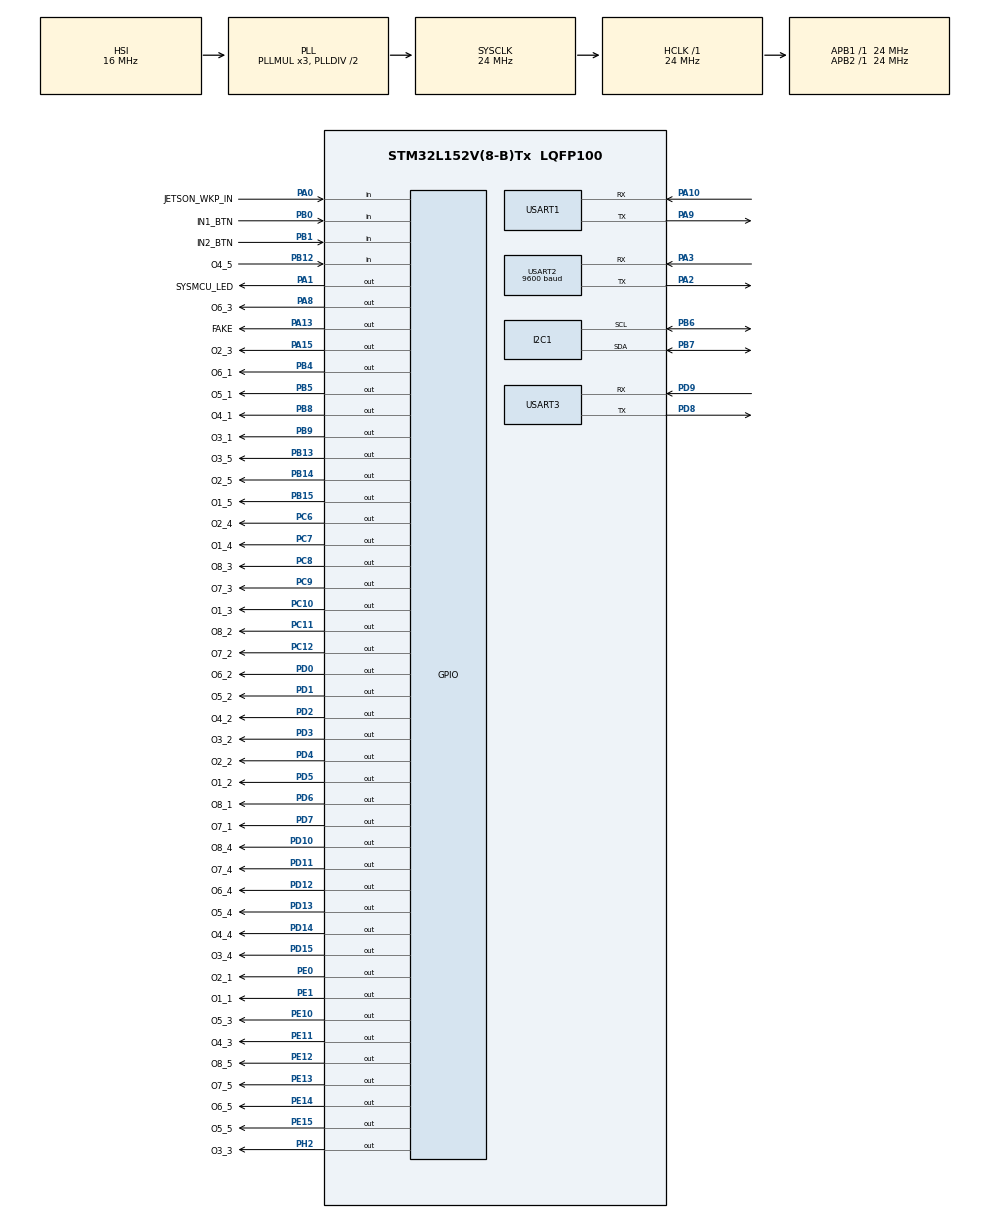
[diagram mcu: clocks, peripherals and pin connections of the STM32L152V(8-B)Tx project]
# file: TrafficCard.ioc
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Dma.Request0=USART1_RX
Dma.USART1_RX.0.Direction=DMA_PERIPH_TO_MEMORY
Dma.USART1_RX.0.Instance=DMA1_Channel5
Dma.USART1_RX.0.MemDataAlignment=DMA_MDATAALIGN_BYTE
Dma.USART1_RX.0.MemInc=DMA_MINC_ENABLE
Dma.USART1_RX.0.Mode=DMA_NORMAL
Dma.USART1_RX.0.PeriphDataAlignment=DMA_PDATAALIGN_BYTE
Dma.USART1_RX.0.PeriphInc=DMA_PINC_DISABLE
Dma.USART1_RX.0.Priority=DMA_PRIORITY_LOW
Mcu.Family=STM32L1
Mcu.Name=STM32L152V(8-B)Tx
Mcu.Package=LQFP100
NVIC.DMA1_Channel5_IRQn=true\:0\:0\:false\:false\:true\:false\:true
NVIC.PriorityGroup=NVIC_PRIORITYGROUP_4
NVIC.TIM6_IRQn=true\:15\:0\:false\:false\:true\:false\:true
NVIC.TimeBase=TIM6_IRQn
NVIC.TimeBaseIP=TIM6
NVIC.USART1_IRQn=true\:0\:0\:false\:false\:true\:true\:true
PA0-WKUP1.GPIO_Label=JETSON_WKP_IN
PA0-WKUP1.Signal=GPIO_Input
PA1.GPIO_Label=SYSMCU_LED
PA1.PinState=GPIO_PIN_SET
PA1.Signal=GPIO_Output
PA10.Mode=Asynchronous
PA10.Signal=USART1_RX
PA13.GPIO_Label=FAKE
PA13.Signal=GPIO_Output
PA15.GPIO_Label=O2_3
PA15.Signal=GPIO_Output
PA2.Mode=Asynchronous
PA2.Signal=USART2_TX
PA3.Mode=Asynchronous
PA3.Signal=USART2_RX
PA8.GPIO_Label=O6_3
PA8.Signal=GPIO_Output
PA9.Mode=Asynchronous
PA9.Signal=USART1_TX
PB0.GPIO_Label=IN1_BTN
PB0.Signal=GPIO_Input
PB1.GPIO_Label=IN2_BTN
PB1.Signal=GPIO_Input
PB12.GPIO_Label=O4_5
PB12.Signal=GPIO_Input
PB13.GPIO_Label=O3_5
PB13.Signal=GPIO_Output
PB14.GPIO_Label=O2_5
PB14.Signal=GPIO_Output
PB15.GPIO_Label=O1_5
PB15.Signal=GPIO_Output
PB4.GPIO_Label=O6_1
PB4.Signal=GPIO_Output
PB5.GPIO_Label=O5_1
PB5.Signal=GPIO_Output
PB6.GPIO_Pu=GPIO_PULLUP
PB6.Mode=I2C
PB6.Signal=I2C1_SCL
PB7.GPIO_Pu=GPIO_PULLUP
PB7.Mode=I2C
PB7.Signal=I2C1_SDA
PB8.GPIO_Label=O4_1
PB8.Signal=GPIO_Output
PB9.GPIO_Label=O3_1
PB9.Signal=GPIO_Output
PC10.GPIO_Label=O1_3
PC10.Signal=GPIO_Output
PC11.GPIO_Label=O8_2
PC11.Signal=GPIO_Output
PC12.GPIO_Label=O7_2
PC12.Signal=GPIO_Output
PC6.GPIO_Label=O2_4
PC6.Signal=GPIO_Output
PC7.GPIO_Label=O1_4
PC7.Signal=GPIO_Output
PC8.GPIO_Label=O8_3
PC8.Signal=GPIO_Output
PC9.GPIO_Label=O7_3
PC9.Signal=GPIO_Output
PD0.GPIO_Label=O6_2
PD0.Signal=GPIO_Output
PD1.GPIO_Label=O5_2
PD1.Signal=GPIO_Output
PD10.GPIO_Label=O8_4
PD10.Signal=GPIO_Output
PD11.GPIO_Label=O7_4
PD11.Signal=GPIO_Output
PD12.GPIO_Label=O6_4
PD12.Signal=GPIO_Output
PD13.GPIO_Label=O5_4
PD13.Signal=GPIO_Output
PD14.GPIO_Label=O4_4
PD14.Signal=GPIO_Output
PD15.GPIO_Label=O3_4
PD15.Signal=GPIO_Output
PD2.GPIO_Label=O4_2
PD2.Signal=GPIO_Output
PD3.GPIO_Label=O3_2
PD3.Signal=GPIO_Output
PD4.GPIO_Label=O2_2
PD4.Signal=GPIO_Output
PD5.GPIO_Label=O1_2
PD5.Signal=GPIO_Output
PD6.GPIO_Label=O8_1
PD6.Signal=GPIO_Output
PD7.GPIO_Label=O7_1
PD7.Signal=GPIO_Output
PD8.Mode=Asynchronous
PD8.Signal=USART3_TX
PD9.Mode=Asynchronous
PD9.Signal=USART3_RX
PE0.GPIO_Label=O2_1
PE0.Signal=GPIO_Output
PE1.GPIO_Label=O1_1
PE1.Signal=GPIO_Output
PE10.GPIO_Label=O5_3
PE10.Signal=GPIO_Output
PE11.GPIO_Label=O4_3
PE11.Signal=GPIO_Output
PE12.GPIO_Label=O8_5
PE12.Signal=GPIO_Output
PE13.GPIO_Label=O7_5
PE13.Signal=GPIO_Output
PE14.GPIO_Label=O6_5
PE14.Signal=GPIO_Output
PE15.GPIO_Label=O5_5
PE15.Signal=GPIO_Output
PH2.GPIO_Label=O3_3
PH2.Signal=GPIO_Output
ProjectManager.HeapSize=0x200
ProjectManager.StackSize=0x400
ProjectManager.TargetToolchain=STM32CubeIDE
RCC.AHBFreq_Value=24000000
RCC.APB1Freq_Value=24000000
RCC.APB1TimFreq_Value=24000000
RCC.APB2Freq_Value=24000000
RCC.APB2TimFreq_Value=24000000
RCC.HCLKFreq_Value=24000000
RCC.HSE_VALUE=24000000
RCC.HSI_VALUE=16000000
RCC.LSE_VALUE=32768
RCC.MSI_VALUE=2097000
RCC.SYSCLKFreq_VALUE=24000000
RCC.SYSCLKSource=RCC_SYSCLKSOURCE_PLLCLK
RCC.VCOOutputFreq_Value=48000000
USART1.VirtualMode=VM_ASYNC
USART2.BaudRate=9600
USART2.VirtualMode=VM_ASYNC
USART3.VirtualMode=VM_ASYNC
VP_SYS_VS_tim6.Mode=TIM6
board=custom

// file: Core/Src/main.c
/* USER CODE BEGIN Header */
/**
 ******************************************************************************
 * @file           : main.c
 * @brief          : Main program body
 ******************************************************************************
 * @attention
 *
 * <h2><center>&copy; Copyright (c) 2021 STMicroelectronics.
 * All rights reserved.</center></h2>
 *
 * This software component is licensed by ST under BSD 3-Clause license,
 * the "License"; You may not use this file except in compliance with the
 * License. You may obtain a copy of the License at:
 *                        opensource.org/licenses/BSD-3-Clause
 *
 ******************************************************************************
 */
/* USER CODE END Header */
#include "main.h"

/* USER CODE BEGIN Includes */
#include <stdio.h>
#include <string.h>
#include "util_eprom.h"
/* USER CODE END Includes */

/* USER CODE BEGIN PD */
#define FLASH_WAIT 1000
#define BUTTON_WAIT 100
#define COMM_WAIT	60000  //60 second

#define TXBUFFER_SIZE 5
#define RXBUFFER_SIZE 100
#define STRBUFFER_SIZE 100
/* USER CODE END PD */

/* USER CODE BEGIN PM */
#define lowByte(w) ((uint8_t) ((w) & 0xff))
#define highByte(w) ((uint8_t) ((w) >> 8))

#define bitRead(value, bit) (((value) >> (bit)) & 0x01)
#define bitSet(value, bit) ((value) |= (1UL << (bit)))
#define bitClear(value, bit) ((value) &= ~(1UL << (bit)))
#define bitWrite(value, bit, bitvalue) ((bitvalue) ? bitSet(value, bit) : bitClear(value, bit))
/* USER CODE END PM */

I2C_HandleTypeDef hi2c1;

UART_HandleTypeDef huart1;
UART_HandleTypeDef huart2;
UART_HandleTypeDef huart3;
DMA_HandleTypeDef hdma_usart1_rx;

/* USER CODE BEGIN PV */
uint8_t uart1RxBuff[RXBUFFER_SIZE];
uint8_t txBuffer[TXBUFFER_SIZE];
uint8_t strBuffer[STRBUFFER_SIZE];
uint32_t flashTickTime = 0, btnTickTime = 0, commTickTime = 0;

uint8_t flashSize = 0, jetsonWakeup = 0, jetsonWakeupOld = 0;
uint8_t buttonStatus = 0, btnStatus = 0, btnStatusOld = 0;
uint8_t command = 0, commandStatus = 0, flashDefault = 1;
volatile uint8_t commandReceived = 0;
volatile HAL_StatusTypeDef uartStatus;

extern Lamp_t flash[LAMP_SIZE];
extern uint8_t lampDefaultValue[LAMP_SIZE];
extern const Lamp_t lamp[LAMP_SIZE];

/* USER CODE END PV */

void SystemClock_Config(void);
static void MX_GPIO_Init(void);
static void MX_DMA_Init(void);
static void MX_I2C1_Init(void);
static void MX_USART1_UART_Init(void);
static void MX_USART2_UART_Init(void);
static void MX_USART3_UART_Init(void);
/* USER CODE BEGIN PFP */

void uartRxRestart();
void checkButtonStatus();
void sendStatus();
void performCommand();
void flashLamp();
void lampAction(uint8_t *lampValue);
void closeAllLamp();
uint8_t checksum(uint8_t *source, uint16_t size);
void uartPrint(UART_HandleTypeDef *huart, char *message);
void debug(char *message);
/* USER CODE END PFP */

/* USER CODE BEGIN 0 */

//Uart Idle Interrupt Callback Function
void HAL_UARTEx_RxEventCallback(UART_HandleTypeDef *huart, uint16_t Size) {
	//debug("Received\n");
	if (huart->Instance == USART1) {
		if (Size == 48) {
			commandReceived = 1;
		}
		commTickTime = HAL_GetTick();
		/* start the DMA again */
		uartStatus = HAL_UARTEx_ReceiveToIdle_DMA(&huart1, uart1RxBuff, RXBUFFER_SIZE);
		uartRxRestart();
	}
}
/* USER CODE END 0 */

int main(void) {

	/* MCU Configuration--------------------------------------------------------*/

	/* Reset of all peripherals, Initializes the Flash interface and the Systick. */
	HAL_Init();

	/* Configure the system clock */
	SystemClock_Config();

	/* Initialize all configured peripherals */
	MX_GPIO_Init();
	MX_DMA_Init();
	MX_I2C1_Init();
	MX_USART1_UART_Init();
	MX_USART2_UART_Init();
	MX_USART3_UART_Init();
	/* USER CODE BEGIN 2 */

	//Uart Idle Interrupt Start
	uartStatus = HAL_UARTEx_ReceiveToIdle_DMA(&huart1, uart1RxBuff, RXBUFFER_SIZE);
	uartRxRestart();

	readEpromLampDefault();
	printf("==>lampDefaultValue:\n");
	for (int i = 0; i < LAMP_SIZE; ++i) {
		printf("l%d = %d, ",i,lampDefaultValue[i]);
	}

	lampAction(lampDefaultValue);

	/* USER CODE END 2 */

	/* Infinite loop */
	/* USER CODE BEGIN WHILE */
	while (1) {

		if ((HAL_GetTick() - btnTickTime) > BUTTON_WAIT) {
			btnTickTime = HAL_GetTick();

			checkButtonStatus();
			buttonStatus = ~btnStatusOld & btnStatus;
			btnStatusOld = btnStatus;
			jetsonWakeupOld = jetsonWakeup;

			//Rising edge --> Jetson closed or Communication timeout
			if ((jetsonWakeupOld == 0 && jetsonWakeup == 1) || (HAL_GetTick() - commTickTime) > COMM_WAIT)
			{
				HAL_Delay(50); //Debounce time
				jetsonWakeup = HAL_GPIO_ReadPin(JETSON_WKP_IN_GPIO_Port, JETSON_WKP_IN_Pin);
				if ((jetsonWakeupOld == 0 && jetsonWakeup == 1) || (HAL_GetTick() - commTickTime) > COMM_WAIT)
				{
					printf("Jetson closed or Communication timeout:\n");
					commTickTime = HAL_GetTick();
					lampAction(lampDefaultValue);
				}
			}
		}

		if ((HAL_GetTick() - flashTickTime) > FLASH_WAIT) {
			flashTickTime = HAL_GetTick();
			flashLamp();

			uartRxRestart();
		}

		if (commandReceived == 1) {
			commandReceived = 0;
			performCommand();
			sendStatus();
			command = 0;
			commandStatus = 0;
		}
		/* USER CODE END WHILE */

	}
}

void SystemClock_Config(void) {
	RCC_OscInitTypeDef RCC_OscInitStruct = { 0 };
	RCC_ClkInitTypeDef RCC_ClkInitStruct = { 0 };

	/** Configure the main internal regulator output voltage
	 */
	__HAL_PWR_VOLTAGESCALING_CONFIG(PWR_REGULATOR_VOLTAGE_SCALE1);
	/** Initializes the RCC Oscillators according to the specified parameters
	 * in the RCC_OscInitTypeDef structure.
	 */
	RCC_OscInitStruct.OscillatorType = RCC_OSCILLATORTYPE_HSI;
	RCC_OscInitStruct.HSIState = RCC_HSI_ON;
	RCC_OscInitStruct.HSICalibrationValue = RCC_HSICALIBRATION_DEFAULT;
	RCC_OscInitStruct.PLL.PLLState = RCC_PLL_ON;
	RCC_OscInitStruct.PLL.PLLSource = RCC_PLLSOURCE_HSI;
	RCC_OscInitStruct.PLL.PLLMUL = RCC_PLL_MUL3;
	RCC_OscInitStruct.PLL.PLLDIV = RCC_PLL_DIV2;
	if (HAL_RCC_OscConfig(&RCC_OscInitStruct) != HAL_OK) {
		Error_Handler();
	}
	/** Initializes the CPU, AHB and APB buses clocks
	 */
	RCC_ClkInitStruct.ClockType = RCC_CLOCKTYPE_HCLK | RCC_CLOCKTYPE_SYSCLK
			| RCC_CLOCKTYPE_PCLK1 | RCC_CLOCKTYPE_PCLK2;
	RCC_ClkInitStruct.SYSCLKSource = RCC_SYSCLKSOURCE_PLLCLK;
	RCC_ClkInitStruct.AHBCLKDivider = RCC_SYSCLK_DIV1;
	RCC_ClkInitStruct.APB1CLKDivider = RCC_HCLK_DIV1;
	RCC_ClkInitStruct.APB2CLKDivider = RCC_HCLK_DIV1;

	if (HAL_RCC_ClockConfig(&RCC_ClkInitStruct, FLASH_LATENCY_1) != HAL_OK) {
		Error_Handler();
	}
}

static void MX_I2C1_Init(void) {

	hi2c1.Instance = I2C1;
	hi2c1.Init.ClockSpeed = 100000;
	hi2c1.Init.DutyCycle = I2C_DUTYCYCLE_2;
	hi2c1.Init.OwnAddress1 = 0;
	hi2c1.Init.AddressingMode = I2C_ADDRESSINGMODE_7BIT;
	hi2c1.Init.DualAddressMode = I2C_DUALADDRESS_DISABLE;
	hi2c1.Init.OwnAddress2 = 0;
	hi2c1.Init.GeneralCallMode = I2C_GENERALCALL_DISABLE;
	hi2c1.Init.NoStretchMode = I2C_NOSTRETCH_DISABLE;
	if (HAL_I2C_Init(&hi2c1) != HAL_OK) {
		Error_Handler();
	}

}

static void MX_USART1_UART_Init(void) {

	huart1.Instance = USART1;
	huart1.Init.BaudRate = 115200;
	huart1.Init.WordLength = UART_WORDLENGTH_8B;
	huart1.Init.StopBits = UART_STOPBITS_1;
	huart1.Init.Parity = UART_PARITY_NONE;
	huart1.Init.Mode = UART_MODE_TX_RX;
	huart1.Init.HwFlowCtl = UART_HWCONTROL_NONE;
	huart1.Init.OverSampling = UART_OVERSAMPLING_16;
	if (HAL_UART_Init(&huart1) != HAL_OK) {
		Error_Handler();
	}

}

static void MX_USART2_UART_Init(void) {

	huart2.Instance = USART2;
	huart2.Init.BaudRate = 9600;
	huart2.Init.WordLength = UART_WORDLENGTH_8B;
	huart2.Init.StopBits = UART_STOPBITS_1;
	huart2.Init.Parity = UART_PARITY_NONE;
	huart2.Init.Mode = UART_MODE_TX_RX;
	huart2.Init.HwFlowCtl = UART_HWCONTROL_NONE;
	huart2.Init.OverSampling = UART_OVERSAMPLING_16;
	if (HAL_UART_Init(&huart2) != HAL_OK) {
		Error_Handler();
	}

}

static void MX_USART3_UART_Init(void) {

	huart3.Instance = USART3;
	huart3.Init.BaudRate = 115200;
	huart3.Init.WordLength = UART_WORDLENGTH_8B;
	huart3.Init.StopBits = UART_STOPBITS_1;
	huart3.Init.Parity = UART_PARITY_NONE;
	huart3.Init.Mode = UART_MODE_TX_RX;
	huart3.Init.HwFlowCtl = UART_HWCONTROL_NONE;
	huart3.Init.OverSampling = UART_OVERSAMPLING_16;
	if (HAL_UART_Init(&huart3) != HAL_OK) {
		Error_Handler();
	}

}

static void MX_DMA_Init(void) {

	/* DMA controller clock enable */
	__HAL_RCC_DMA1_CLK_ENABLE();

	/* DMA interrupt init */
	/* DMA1_Channel5_IRQn interrupt configuration */
	HAL_NVIC_SetPriority(DMA1_Channel5_IRQn, 0, 0);
	HAL_NVIC_EnableIRQ(DMA1_Channel5_IRQn);

}

static void MX_GPIO_Init(void) {
	GPIO_InitTypeDef GPIO_InitStruct = { 0 };

	/* GPIO Ports Clock Enable */
	__HAL_RCC_GPIOA_CLK_ENABLE();
	__HAL_RCC_GPIOB_CLK_ENABLE();
	__HAL_RCC_GPIOE_CLK_ENABLE();
	__HAL_RCC_GPIOD_CLK_ENABLE();
	__HAL_RCC_GPIOC_CLK_ENABLE();
	__HAL_RCC_GPIOH_CLK_ENABLE();

	/*Configure GPIO pin Output Level */
	HAL_GPIO_WritePin(SYSMCU_LED_GPIO_Port, SYSMCU_LED_Pin, GPIO_PIN_SET);

	/*Configure GPIO pin Output Level */
	HAL_GPIO_WritePin(GPIOE,
			O5_3_Pin | O4_3_Pin | O8_5_Pin | O7_5_Pin | O6_5_Pin | O5_5_Pin
					| O2_1_Pin | O1_1_Pin, GPIO_PIN_RESET);

	/*Configure GPIO pin Output Level */
	HAL_GPIO_WritePin(GPIOB,
	O3_5_Pin | O2_5_Pin | O1_5_Pin | O6_1_Pin | O5_1_Pin | O4_1_Pin | O3_1_Pin,
			GPIO_PIN_RESET);

	/*Configure GPIO pin Output Level */
	HAL_GPIO_WritePin(GPIOD,
			O8_4_Pin | O7_4_Pin | O6_4_Pin | O5_4_Pin | O4_4_Pin | O3_4_Pin
					| O6_2_Pin | O5_2_Pin | O4_2_Pin | O3_2_Pin | O2_2_Pin
					| O1_2_Pin | O8_1_Pin | O7_1_Pin, GPIO_PIN_RESET);

	/*Configure GPIO pin Output Level */
	HAL_GPIO_WritePin(GPIOC,
	O2_4_Pin | O1_4_Pin | O8_3_Pin | O7_3_Pin | O1_3_Pin | O8_2_Pin | O7_2_Pin,
			GPIO_PIN_RESET);

	/*Configure GPIO pin Output Level */
	HAL_GPIO_WritePin(GPIOA, O6_3_Pin | FAKE_Pin | O2_3_Pin, GPIO_PIN_RESET);

	/*Configure GPIO pin Output Level */
	HAL_GPIO_WritePin(O3_3_GPIO_Port, O3_3_Pin, GPIO_PIN_RESET);

	/*Configure GPIO pin : JETSON_WKP_IN_Pin */
	GPIO_InitStruct.Pin = JETSON_WKP_IN_Pin;
	GPIO_InitStruct.Mode = GPIO_MODE_INPUT;
	GPIO_InitStruct.Pull = GPIO_NOPULL;
	HAL_GPIO_Init(JETSON_WKP_IN_GPIO_Port, &GPIO_InitStruct);

	/*Configure GPIO pins : SYSMCU_LED_Pin O6_3_Pin FAKE_Pin O2_3_Pin */
	GPIO_InitStruct.Pin = SYSMCU_LED_Pin | O6_3_Pin | FAKE_Pin | O2_3_Pin;
	GPIO_InitStruct.Mode = GPIO_MODE_OUTPUT_PP;
	GPIO_InitStruct.Pull = GPIO_NOPULL;
	GPIO_InitStruct.Speed = GPIO_SPEED_FREQ_LOW;
	HAL_GPIO_Init(GPIOA, &GPIO_InitStruct);

	/*Configure GPIO pins : IN1_BTN_Pin IN2_BTN_Pin O4_5_Pin */
	GPIO_InitStruct.Pin = IN1_BTN_Pin | IN2_BTN_Pin | O4_5_Pin;
	GPIO_InitStruct.Mode = GPIO_MODE_INPUT;
	GPIO_InitStruct.Pull = GPIO_NOPULL;
	HAL_GPIO_Init(GPIOB, &GPIO_InitStruct);

	/*Configure GPIO pins : O5_3_Pin O4_3_Pin O8_5_Pin O7_5_Pin
	 O6_5_Pin O5_5_Pin O2_1_Pin O1_1_Pin */
	GPIO_InitStruct.Pin = O5_3_Pin | O4_3_Pin | O8_5_Pin | O7_5_Pin | O6_5_Pin
			| O5_5_Pin | O2_1_Pin | O1_1_Pin;
	GPIO_InitStruct.Mode = GPIO_MODE_OUTPUT_PP;
	GPIO_InitStruct.Pull = GPIO_NOPULL;
	GPIO_InitStruct.Speed = GPIO_SPEED_FREQ_LOW;
	HAL_GPIO_Init(GPIOE, &GPIO_InitStruct);

	/*Configure GPIO pins : O3_5_Pin O2_5_Pin O1_5_Pin O6_1_Pin
	 O5_1_Pin O4_1_Pin O3_1_Pin */
	GPIO_InitStruct.Pin = O3_5_Pin | O2_5_Pin | O1_5_Pin | O6_1_Pin | O5_1_Pin
			| O4_1_Pin | O3_1_Pin;
	GPIO_InitStruct.Mode = GPIO_MODE_OUTPUT_PP;
	GPIO_InitStruct.Pull = GPIO_NOPULL;
	GPIO_InitStruct.Speed = GPIO_SPEED_FREQ_LOW;
	HAL_GPIO_Init(GPIOB, &GPIO_InitStruct);

	/*Configure GPIO pins : O8_4_Pin O7_4_Pin O6_4_Pin O5_4_Pin
	 O4_4_Pin O3_4_Pin O6_2_Pin O5_2_Pin
	 O4_2_Pin O3_2_Pin O2_2_Pin O1_2_Pin
	 O8_1_Pin O7_1_Pin */
	GPIO_InitStruct.Pin = O8_4_Pin | O7_4_Pin | O6_4_Pin | O5_4_Pin | O4_4_Pin
			| O3_4_Pin | O6_2_Pin | O5_2_Pin | O4_2_Pin | O3_2_Pin | O2_2_Pin
			| O1_2_Pin | O8_1_Pin | O7_1_Pin;
	GPIO_InitStruct.Mode = GPIO_MODE_OUTPUT_PP;
	GPIO_InitStruct.Pull = GPIO_NOPULL;
	GPIO_InitStruct.Speed = GPIO_SPEED_FREQ_LOW;
	HAL_GPIO_Init(GPIOD, &GPIO_InitStruct);

	/*Configure GPIO pins : O2_4_Pin O1_4_Pin O8_3_Pin O7_3_Pin
	 O1_3_Pin O8_2_Pin O7_2_Pin */
	GPIO_InitStruct.Pin = O2_4_Pin | O1_4_Pin | O8_3_Pin | O7_3_Pin | O1_3_Pin
			| O8_2_Pin | O7_2_Pin;
	GPIO_InitStruct.Mode = GPIO_MODE_OUTPUT_PP;
	GPIO_InitStruct.Pull = GPIO_NOPULL;
	GPIO_InitStruct.Speed = GPIO_SPEED_FREQ_LOW;
	HAL_GPIO_Init(GPIOC, &GPIO_InitStruct);

	/*Configure GPIO pin : O3_3_Pin */
	GPIO_InitStruct.Pin = O3_3_Pin;
	GPIO_InitStruct.Mode = GPIO_MODE_OUTPUT_PP;
	GPIO_InitStruct.Pull = GPIO_NOPULL;
	GPIO_InitStruct.Speed = GPIO_SPEED_FREQ_LOW;
	HAL_GPIO_Init(O3_3_GPIO_Port, &GPIO_InitStruct);

}

/* USER CODE BEGIN 4 */
void uartRxRestart() {
	if(uartStatus != HAL_OK) //Restart the Uart Interrupt
	{
		HAL_UART_AbortReceive_IT(&huart1);
		uartStatus = HAL_UARTEx_ReceiveToIdle_DMA(&huart1, uart1RxBuff, RXBUFFER_SIZE);
		__HAL_DMA_DISABLE_IT(&hdma_usart1_rx, DMA_IT_HT);
	}
}

void checkButtonStatus() {
	btnStatus = 0;
	bitWrite(btnStatus, 0, HAL_GPIO_ReadPin(IN1_BTN_GPIO_Port, IN1_BTN_Pin));
	bitWrite(btnStatus, 1, HAL_GPIO_ReadPin(IN2_BTN_GPIO_Port, IN2_BTN_Pin));
	jetsonWakeup = HAL_GPIO_ReadPin(JETSON_WKP_IN_GPIO_Port, JETSON_WKP_IN_Pin);
}

void sendStatus() {
	memset(txBuffer, 0, sizeof(txBuffer));  //Zero fill the values
	txBuffer[0] = 0xFB;	          //StartByte1 0xFB
	txBuffer[1] = 0x2C; 	      //StartByte2 0x2C
	txBuffer[2] = command;        //Command
	txBuffer[3] = commandStatus;  //Command status
	txBuffer[4] = buttonStatus;
	txBuffer[5] = checksum(&txBuffer[2], 3);   //Checksum calculate for Bytes2-4
	HAL_UART_Transmit(&huart1, txBuffer, 6, 50); //Transmit TX Buffer buffer_size=6 byte
}

void performCommand() {
	uint8_t *rxBuffer = uart1RxBuff;

	command = rxBuffer[2];
	commandStatus = 0;
	uint8_t checkByte = checksum(&rxBuffer[2], 45);

	if (rxBuffer[0] == 0xFB && rxBuffer[1] == 0x2C && checkByte == rxBuffer[47]) //Also add checkByte condition
	{
		commandStatus = 1;
		if (command == 11)       //11: Perform Lamp Operations
		{
			lampAction(&rxBuffer[3]);
		}
		if (command == 12)       //12: Save Default Lamp Operations
		{
			commandStatus = writeEpromLampDefault(&rxBuffer[3]);
		}
		if (command == 13)
		{
			//Ping command
		}
	}
}

void flashLamp() {
	printf("==>flashLamp:\n");
	for (int i = 0; i < flashSize; ++i) {
		HAL_GPIO_TogglePin(flash[i].port, flash[i].pin);
	}
}

void lampAction(uint8_t *lampValue) {
	uint16_t flashIndex = 0;
	printf("==>lampAction:\n");
	for (int i = 0; i < LAMP_SIZE; ++i) {
		printf(" l%d = %d, ",i,lampValue[i]);
		if(lampValue[i] == 0 || lampValue[i] == 1) {
			HAL_GPIO_WritePin(lamp[i].port, lamp[i].pin, lampValue[i]);
		} else if (lampValue[i] == 2) {
			HAL_GPIO_WritePin(lamp[i].port, lamp[i].pin, 0);  //Close lamp
			flash[flashIndex] = lamp[i];
			flashIndex++;
		}
	}
	flashSize = flashIndex;
	printf("\n flashSize =  %d",flashSize);
}

void closeAllLamp() {
	printf("==>closeAllLamp:\n");
	for (int i = 0; i < LAMP_SIZE; ++i) {
		printf(" l%d = %d, ",i, 0);
		HAL_GPIO_WritePin(lamp[i].port, lamp[i].pin, 0);
	}
}

uint8_t checksum(uint8_t *source, uint16_t size) {
	uint8_t result = 0;
	for (int i = 0; i < size; ++i) {
		result = result ^ source[i];
	}
	return result;
}

void uartPrint(UART_HandleTypeDef *huart, char *message) {
	HAL_UART_Transmit(huart, (uint8_t*) message, (uint16_t) strlen(message), 100);
}

void debug(char *message) {
	uartPrint(&huart3, message);
}

int __io_putchar(int ch) //Used for printf
{
  while (HAL_OK != HAL_UART_Transmit(&huart1, (uint8_t *) &ch, 1, 50))
  {
    ;
  }
  return ch;
}

//Using printf function on Debugger SWO pin
int _write(int32_t file, uint8_t *ptr, int32_t len) {
	for (int i = 0; i < len; i++) {
		ITM_SendChar(*ptr++);
	}
	return len;
}
/* USER CODE END 4 */

void HAL_TIM_PeriodElapsedCallback(TIM_HandleTypeDef *htim) {
	if (htim->Instance == TIM6) {
		HAL_IncTick();
	}
}

void Error_Handler(void) {
	__disable_irq();
	while (1) {
	}
}

/************************ (C) COPYRIGHT STMicroelectronics *****END OF FILE****/
